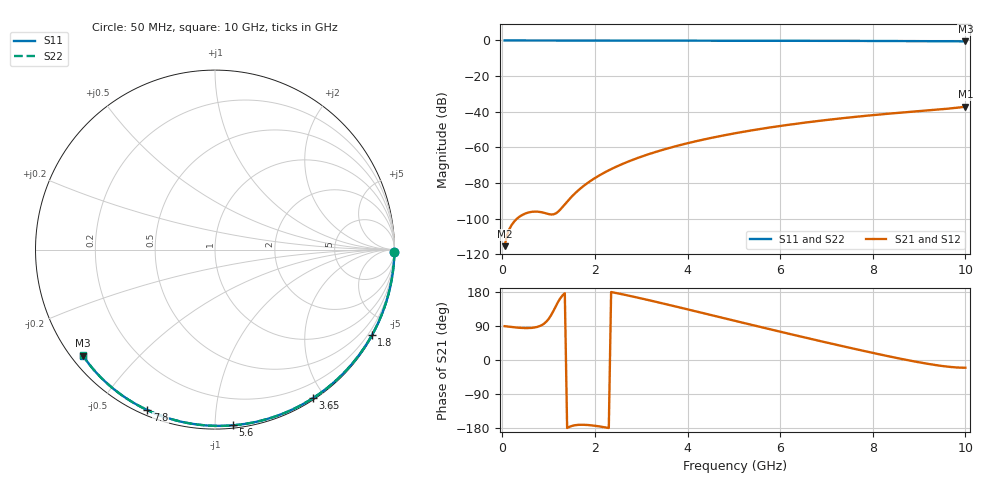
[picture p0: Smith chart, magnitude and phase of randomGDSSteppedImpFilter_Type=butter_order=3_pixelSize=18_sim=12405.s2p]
! freq	dB(S11)	phase(S11)	dB(S12)	phase(S12)
!  dB(S21)	phase(S21)	dB(S22)	phase(S22)
!S-par simulation data
#  GHz  S  DB  R 50
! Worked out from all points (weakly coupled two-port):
!   200 points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, 50 MHz to 10 GHz, reference 50 ohm
!   highest |S21| = -37.16 dB at 10 GHz (marker M1); lowest = -115.4 dB at 50 MHz (marker M2)
!   lowest |S11| = -0.5 dB at 10 GHz (marker M3), VSWR 33.78, Z = 1.66 - j17.6 ohm
!   |S11| at or under -10 dB: nowhere
!   |S22| runs from -0.5 to 0.0 dB; largest |S21 - S12| = 0
!   S11 on the Smith chart (normalised r, x): 50 MHz: open; 1.8 GHz: 0.03, -3.91; 3.65 GHz: 0.02, -1.85; 5.6 GHz: 0.02, -1.11; 7.8 GHz: 0.02, -0.66; 10 GHz: 0.03, -0.35
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0.05  -0.00 -0.8  -115.43 89.2  -115.43 89.2  -0.00 -0.8
0.9  -0.02 -14.5  -96.69 95.8  -96.69 95.8  -0.02 -14.5
1.75  -0.04 -27.9  -81.75 -170.9  -81.75 -170.9  -0.04 -27.9
1.8  -0.04 -28.7  -80.75 -171.2  -80.75 -171.2  -0.04 -28.7
1.85  -0.04 -29.5  -79.81 -171.6  -79.81 -171.6  -0.04 -29.5
2  -0.04 -31.8  -77.22 -173.5  -77.22 -173.5  -0.04 -31.8
2.15  -0.04 -34.1  -74.91 -176.3  -74.91 -176.3  -0.04 -34.1
2.35  -0.05 -37.2  -72.20 179.4  -72.20 179.4  -0.05 -37.2
2.55  -0.05 -40.3  -69.80 174.5  -69.80 174.5  -0.05 -40.3
2.95  -0.06 -46.3  -65.69 163.9  -65.69 163.9  -0.06 -46.3
3.4  -0.07 -53.1  -61.86 151.2  -61.86 151.2  -0.07 -53.1
3.65  -0.08 -56.7  -60.01 143.9  -60.01 143.9  -0.08 -56.8
4.3  -0.09 -66.2  -55.85 124.8  -55.85 124.8  -0.09 -66.2
5.05  -0.12 -76.7  -51.96 102.6  -51.96 102.6  -0.12 -76.7
5.6  -0.14 -84.2  -49.55 86.4  -49.55 86.4  -0.14 -84.3
6.15  -0.16 -91.6  -47.43 70.4  -47.43 70.4  -0.16 -91.6
6.7  -0.19 -98.8  -45.56 54.6  -45.56 54.6  -0.19 -98.8
7.25  -0.22 -105.9  -43.90 39.2  -43.90 39.2  -0.22 -105.9
7.8  -0.26 -112.9  -42.41 24.1  -42.41 24.1  -0.26 -112.9
8.35  -0.31 -119.8  -41.07 9.6  -41.07 9.6  -0.31 -119.9
9.3  -0.40 -131.8  -39.01 -12.3  -39.01 -12.3  -0.40 -131.8
10  -0.51 -141.2  -37.16 -20.4  -37.16 -20.4  -0.52 -141.3
